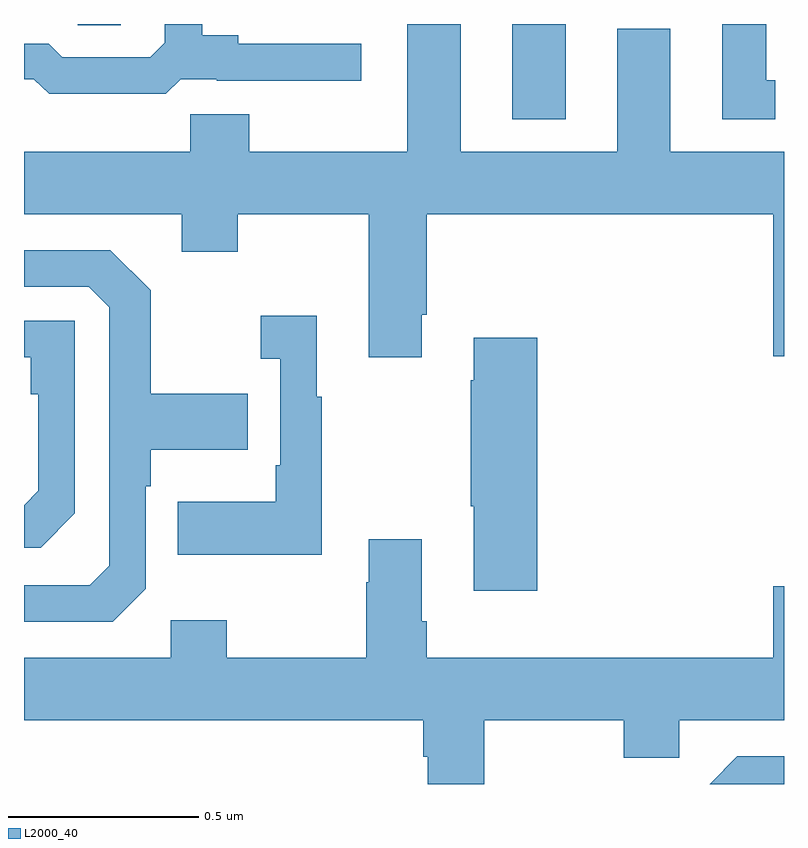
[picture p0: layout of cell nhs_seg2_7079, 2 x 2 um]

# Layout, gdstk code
import gdstk
lib = gdstk.Library(unit=1e-6, precision=1e-09)
def R(c, l, rs):  # rectangles x0, y0, x1, y1
    for r in rs: c.add(gdstk.rectangle(r[:2], r[2:], *l))
def P(c, l, *ps):  # polygons
    for p in ps: c.add(gdstk.Polygon(p, *l))
L2000_40 = (2000, 40)

nhs_seg2_7079 = lib.new_cell('nhs_seg2_7079')
R(nhs_seg2_7079, L2000_40, [(200.285,650.549,200.425,650.8), (199.142,650.797,199.254,650.8)])
P(nhs_seg2_7079, L2000_40, [(200.047,650.035),(200.06,650.035),(200.06,650.3),(200.972,650.3),(200.972,649.926),(201,649.926),(201,650.464),(200.701,650.464),(200.701,650.788),(200.561,650.788),(200.561,650.464),(200.149,650.464),(200.149,650.8),(200.009,650.8),(200.009,650.464),(199.593,650.464),(199.593,650.562),(199.438,650.562),(199.438,650.464),(199,650.464),(199,650.3),(199.415,650.3),(199.415,650.201),(199.563,650.201),(199.563,650.3),(199.907,650.3),(199.907,649.923),(200.047,649.923)],
  [(199.413,650.655),(199.507,650.655),(199.507,650.651),(199.888,650.651),(199.888,650.748),(199.564,650.748),(199.564,650.771),(199.469,650.771),(199.469,650.8),(199.371,650.8),(199.371,650.751),(199.332,650.712),(199.101,650.712),(199.065,650.748),(199,650.748),(199,650.655),(199.026,650.655),(199.066,650.616),(199.373,650.616)],
  [(200.977,650.652),(200.953,650.652),(200.953,650.8),(200.837,650.8),(200.837,650.55),(200.977,650.55)],
  [(199.32,649.314),(199.32,649.583),(199.333,649.583),(199.333,649.679),(199.589,649.679),(199.589,649.827),(199.333,649.827),(199.333,650.099),(199.227,650.205),(199,650.205),(199,650.109),(199.17,650.109),(199.224,650.055),(199.224,649.374),(199.173,649.323),(199,649.323),(199,649.227),(199.233,649.227)],
  [(199.783,649.819),(199.771,649.819),(199.771,650.032),(199.623,650.032),(199.623,649.919),(199.674,649.919),(199.674,649.639),(199.662,649.639),(199.662,649.543),(199.405,649.543),(199.405,649.403),(199.783,649.403)],
  [(199.134,649.512),(199.134,650.019),(199,650.019),(199,649.923),(199.018,649.923),(199.018,649.826),(199.038,649.826),(199.038,649.572),(199,649.534),(199,649.422),(199.044,649.422)],
  [(200.351,649.975),(200.183,649.975),(200.183,649.862),(200.176,649.862),(200.176,649.531),(200.183,649.531),(200.183,649.308),(200.351,649.308)],
  [(200.211,648.968),(200.578,648.968),(200.578,648.869),(200.724,648.869),(200.724,648.968),(201,648.968),(201,649.321),(200.972,649.321),(200.972,649.132),(200.06,649.132),(200.06,649.228),(200.047,649.228),(200.047,649.444),(199.907,649.444),(199.907,649.331),(199.9,649.331),(199.9,649.132),(199.533,649.132),(199.533,649.231),(199.386,649.231),(199.386,649.132),(199,649.132),(199,648.968),(200.051,648.968),(200.051,648.872),(200.063,648.872),(200.063,648.8),(200.211,648.8)],
  [(201,648.873),(200.877,648.873),(200.804,648.8),(201,648.8)])

lib.write_gds('nhs_seg2_7079.gds')
